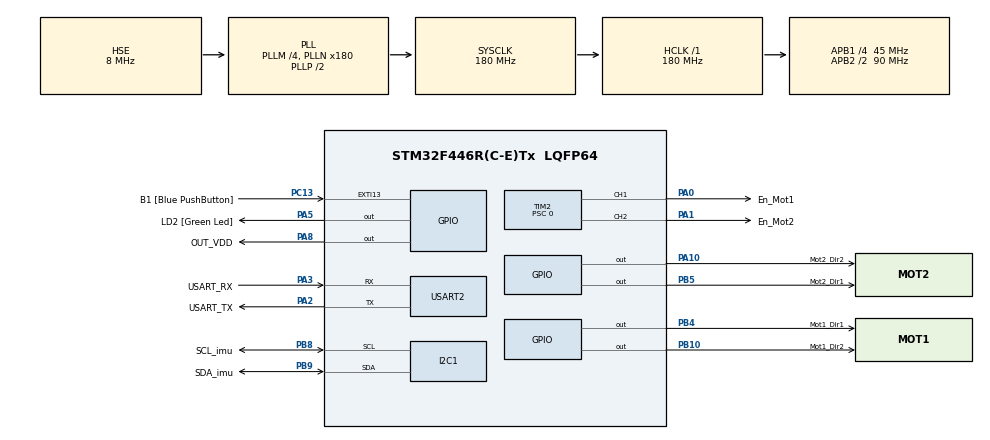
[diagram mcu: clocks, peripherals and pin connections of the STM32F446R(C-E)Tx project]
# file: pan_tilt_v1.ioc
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I2C1.I2C_Mode=I2C_Standard
Mcu.Family=STM32F4
Mcu.Name=STM32F446R(C-E)Tx
Mcu.Package=LQFP64
NVIC.PriorityGroup=NVIC_PRIORITYGROUP_0
NVIC.TIM6_DAC_IRQn=true\:0\:0\:false\:false\:true\:true\:true\:true
PA0-WKUP.GPIO_Label=En_Mot1
PA0-WKUP.Signal=S_TIM2_CH1_ETR
PA1.GPIO_Label=En_Mot2
PA1.Signal=S_TIM2_CH2
PA10.GPIO_Label=Mot2_Dir2
PA10.Signal=GPIO_Output
PA13.GPIO_Label=TMS
PA13.Mode=Serial_Wire
PA13.Signal=SYS_JTMS-SWDIO
PA14.GPIO_Label=TCK
PA14.Mode=Serial_Wire
PA14.Signal=SYS_JTCK-SWCLK
PA2.GPIO_Label=USART_TX
PA2.Mode=Asynchronous
PA2.Signal=USART2_TX
PA3.GPIO_Label=USART_RX
PA3.Mode=Asynchronous
PA3.Signal=USART2_RX
PA5.GPIO_Label=LD2 [Green Led]
PA5.Signal=GPIO_Output
PA8.GPIO_Label=OUT_VDD
PA8.GPIO_PuPd=GPIO_PULLDOWN
PA8.Signal=GPIO_Output
PB10.GPIO_Label=Mot1_Dir2
PB10.Signal=GPIO_Output
PB3.Signal=SYS_JTDO-SWO
PB4.GPIO_Label=Mot1_Dir1
PB4.Signal=GPIO_Output
PB5.GPIO_Label=Mot2_Dir1
PB5.Signal=GPIO_Output
PB8.GPIO_Label=SCL_imu
PB8.Mode=I2C
PB8.Signal=I2C1_SCL
PB9.GPIO_Label=SDA_imu
PB9.Mode=I2C
PB9.Signal=I2C1_SDA
PC13.GPIO_Label=B1 [Blue PushButton]
PC13.GPIO_ModeDefaultEXTI=GPIO_MODE_IT_FALLING
PC13.Signal=GPXTI13
PH0-OSC_IN.Mode=HSE-External-Oscillator
PH0-OSC_IN.Signal=RCC_OSC_IN
PH1-OSC_OUT.Mode=HSE-External-Oscillator
PH1-OSC_OUT.Signal=RCC_OSC_OUT
ProjectManager.HeapSize=0x200
ProjectManager.StackSize=0x400
ProjectManager.TargetToolchain=STM32CubeIDE
RCC.48MHZClocksFreq_Value=84000000
RCC.AHBFreq_Value=180000000
RCC.APB1CLKDivider=RCC_HCLK_DIV4
RCC.APB1Freq_Value=45000000
RCC.APB1TimFreq_Value=90000000
RCC.APB2CLKDivider=RCC_HCLK_DIV2
RCC.APB2Freq_Value=90000000
RCC.APB2TimFreq_Value=180000000
RCC.CortexFreq_Value=180000000
RCC.FLatency-AdvancedSettings=FLASH_LATENCY_5
RCC.HCLKFreq_Value=180000000
RCC.HSE_VALUE=8000000
RCC.HSI_VALUE=16000000
RCC.PLLM=4
RCC.PLLN=180
RCC.PLLSourceVirtual=RCC_PLLSOURCE_HSE
RCC.SYSCLKFreq_VALUE=180000000
RCC.SYSCLKSource=RCC_SYSCLKSOURCE_PLLCLK
RCC.USBFreq_Value=180000000
RCC.VCOOutputFreq_Value=360000000
SH.S_TIM2_CH1_ETR.0=TIM2_CH1,PWM Generation1 CH1
SH.S_TIM2_CH2.0=TIM2_CH2,PWM Generation2 CH2
TIM2.Channel-PWM\ Generation1\ CH1=TIM_CHANNEL_1
TIM2.Channel-PWM\ Generation2\ CH2=TIM_CHANNEL_2
TIM2.Period=4499
TIM2.Prescaler=0
TIM6.Period=44999
TIM6.Prescaler=9
USART2.VirtualMode=VM_ASYNC
VP_TIM6_VS_ClockSourceINT.Mode=Enable_Timer
board=NUCLEO-F446RE

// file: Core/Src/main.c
/* USER CODE BEGIN Header */
/**
  ********************************************************************
  * @file           : main.c
  * @brief          : Main program body
  ********************************************************************
  * @attention
  *
  * Copyright (c) 2024 STMicroelectronics.
  * All rights reserved.
  *
  * This software is licensed under terms that can be found in the LICENSE file
  * in the root directory of this software component.
  * If no LICENSE file comes with this software, it is provided AS-IS.
  *
  ********************************************************************
  */
/* USER CODE END Header */
#include "main.h"
#include "i2c.h"
#include "tim.h"
#include "usart.h"
#include "gpio.h"

/* USER CODE BEGIN Includes */
#include <math.h>
#include <stdio.h>
#include <string.h>
#include <stdlib.h>
#include "mpu9265.h"
#include "mpu9265_fun.h"
#include "motors.h"
#include "control_system.h"
/* USER CODE END Includes */

/* USER CODE BEGIN PV */
PID_Controller PositionController_Motor1;
PID_Controller PositionController_Motor2;
PID_Controller VelocityController_Motor1;
PID_Controller VelocityController_Motor2;

ControlState state = PAN_CONTROL; // starting state

float targetPoint[3] = {-35.0f, -20.0f, 160.0f}; 	// xyz target point (in mm)
float panTarget, tiltTarget; 						// computed value of target angles (in deg)
float panAngle, tiltAngle; 							// current value of angles (in deg)
float panVelocity, tiltVelocity; 					// current value of velocity (in dps)

float errorPosition_Mot1, errorPosition_Mot2; 		// position error (in mm)

/* USER CODE END PV */

void SystemClock_Config(void);

int main(void)
{

  /* MCU Configuration--------------------------------------------------------*/

  /* Reset of all peripherals, Initializes the Flash interface and the Systick. */
  HAL_Init();

  /* Configure the system clock */
  SystemClock_Config();

  /* Initialize all configured peripherals */
  MX_GPIO_Init();
  MX_USART2_UART_Init();
  MX_I2C1_Init();
  MX_TIM2_Init();
  MX_TIM6_Init();
  /* USER CODE BEGIN 2 */
  /* Initialize IMU */
  MPU9265_Init();
  /* Initialize motors */
  Motor1_Init(360); // ccr = 360 -> duty_cycle = 0.08 and rotate in dir1
  Motor2_Init(540); // ccr = 540 -> duty_cycle = 0.12 and rotate in dir2 (cam backwards)
  /* Compute Inverse Kinematics */
  InverseKinematics(targetPoint, &panTarget, &tiltTarget);
  /* Initialize controllers */
  PID_Init(&PositionController_Motor1, 18.0, 0.0, 0.0, -INFINITY, INFINITY); // no limit for output
  PID_Init(&VelocityController_Motor1, 5.0, 4.0, 0.0, 0, 675);
  PID_Init(&PositionController_Motor2, 15.0, 0.0, 0.0, -INFINITY, INFINITY); // no limit for output
  PID_Init(&VelocityController_Motor2, 7.5, 3.5, 0.0, 0, 540);
  /* Configure SWO to transfer position data */
  configure_swo();
  /* Starting TIM6 Interrupt */
  HAL_TIM_Base_Start_IT(&htim6);
  /* USER CODE END 2 */

  /* Infinite loop */
  /* USER CODE BEGIN WHILE */
    while (1)
  {
    	/* Check IMU Sensor */
    	//MPU9265_CheckStatus(&id, &status);

    	/* Gyroscope Calibration */
    	//MPU9265_CalibrateGyro(&gyroOffset);
    	//break;

    /* USER CODE END WHILE */

  }
}

void SystemClock_Config(void)
{
  RCC_OscInitTypeDef RCC_OscInitStruct = {0};
  RCC_ClkInitTypeDef RCC_ClkInitStruct = {0};

  /** Configure the main internal regulator output voltage
  */
  __HAL_RCC_PWR_CLK_ENABLE();
  __HAL_PWR_VOLTAGESCALING_CONFIG(PWR_REGULATOR_VOLTAGE_SCALE1);

  /** Initializes the RCC Oscillators according to the specified parameters
  * in the RCC_OscInitTypeDef structure.
  */
  RCC_OscInitStruct.OscillatorType = RCC_OSCILLATORTYPE_HSE;
  RCC_OscInitStruct.HSEState = RCC_HSE_ON;
  RCC_OscInitStruct.PLL.PLLState = RCC_PLL_ON;
  RCC_OscInitStruct.PLL.PLLSource = RCC_PLLSOURCE_HSE;
  RCC_OscInitStruct.PLL.PLLM = 4;
  RCC_OscInitStruct.PLL.PLLN = 180;
  RCC_OscInitStruct.PLL.PLLP = RCC_PLLP_DIV2;
  RCC_OscInitStruct.PLL.PLLQ = 2;
  RCC_OscInitStruct.PLL.PLLR = 2;
  if (HAL_RCC_OscConfig(&RCC_OscInitStruct) != HAL_OK)
  {
    Error_Handler();
  }

  /** Activate the Over-Drive mode
  */
  if (HAL_PWREx_EnableOverDrive() != HAL_OK)
  {
    Error_Handler();
  }

  /** Initializes the CPU, AHB and APB buses clocks
  */
  RCC_ClkInitStruct.ClockType = RCC_CLOCKTYPE_HCLK|RCC_CLOCKTYPE_SYSCLK
                              |RCC_CLOCKTYPE_PCLK1|RCC_CLOCKTYPE_PCLK2;
  RCC_ClkInitStruct.SYSCLKSource = RCC_SYSCLKSOURCE_PLLCLK;
  RCC_ClkInitStruct.AHBCLKDivider = RCC_SYSCLK_DIV1;
  RCC_ClkInitStruct.APB1CLKDivider = RCC_HCLK_DIV4;
  RCC_ClkInitStruct.APB2CLKDivider = RCC_HCLK_DIV2;

  if (HAL_RCC_ClockConfig(&RCC_ClkInitStruct, FLASH_LATENCY_5) != HAL_OK)
  {
    Error_Handler();
  }
}

/* USER CODE BEGIN 4 */

/* Control Action each dt_TIM6 = 5 ms */
void HAL_TIM_PeriodElapsedCallback(TIM_HandleTypeDef *htim) {
	if (htim->Instance == TIM6){
		ReadPanTilt(&panAngle, &tiltAngle, &panVelocity, &tiltVelocity);
		send_data_to_swv(panAngle, tiltAngle);

		__disable_irq();
		      switch (state){
		      case PAN_CONTROL:
		        Motor1_Control(&PositionController_Motor1, &VelocityController_Motor1, panAngle, panVelocity, panTarget, &state, &errorPosition_Mot1);
		        break;
		      case TILT_CONTROL:
		        Motor2_Control(&PositionController_Motor2, &VelocityController_Motor2, tiltAngle, tiltVelocity, tiltTarget, &state, &errorPosition_Mot2);
		        break;
		      case SEQUENCE_DONE:
		        break;
		      }
		 __enable_irq();

	}
}

/* USER CODE END 4 */

void Error_Handler(void)
{
  __disable_irq();
  while (1)
  {
  }
}
